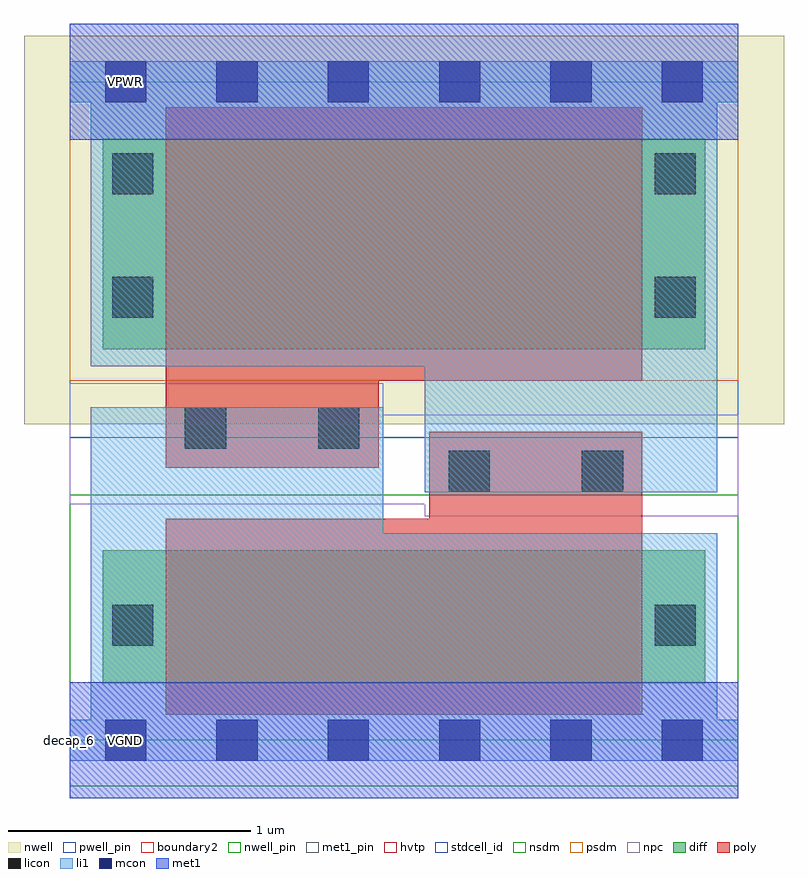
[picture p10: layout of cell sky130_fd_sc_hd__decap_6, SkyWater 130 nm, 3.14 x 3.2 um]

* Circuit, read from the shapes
.subckt sky130_fd_sc_hd__decap_6 VGND VNB VPB VPWR
XM1 VGND VPWR VGND VNB sky130_fd_pr__nfet_01v8 w=0.55 l=1.97
XM2 VPWR VGND VPWR VPB sky130_fd_pr__pfet_01v8_hvt w=0.87 l=1.97
.ends

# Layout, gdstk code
import gdstk
lib = gdstk.Library(unit=1e-6, precision=1e-09)
def R(c, l, rs):  # rectangles x0, y0, x1, y1
    for r in rs: c.add(gdstk.rectangle(r[:2], r[2:], *l))
def A(c, l, x, y, w, h, nx, ny, dx, dy):  # array of equal rectangles
    R(c, l, [(x+i*dx, y+j*dy, x+i*dx+w, y+j*dy+h) for i in range(nx) for j in range(ny)])
def P(c, l, *ps):  # polygons
    for p in ps: c.add(gdstk.Polygon(p, *l))
nwell_pin = (64, 16)
nwell = (64, 20)
diff = (65, 20)
poly = (66, 20)
licon = (66, 44)
li1 = (67, 20)
mcon = (67, 44)
met1_pin = (68, 16)
met1 = (68, 20)
hvtp = (78, 44)
stdcell_id = (81, 4)
nsdm = (93, 44)
psdm = (94, 20)
npc = (95, 20)
pwell_pin = (122, 16)
boundary2 = (236, 0)

sky130_fd_sc_hd__decap_6 = lib.new_cell('sky130_fd_sc_hd__decap_6')
R(sky130_fd_sc_hd__decap_6, nwell_pin, [(0.145,2.635,0.315,2.805)])
R(sky130_fd_sc_hd__decap_6, nwell, [(-0.19,1.305,2.95,2.91)])
R(sky130_fd_sc_hd__decap_6, diff, [(0.135,0.235,2.625,0.785), (0.135,1.615,2.625,2.485)])
P(sky130_fd_sc_hd__decap_6, poly, [(2.365,2.615),(0.395,2.615),(0.395,1.125),(1.275,1.125),(1.275,1.485),(2.365,1.485)],
  [(2.365,1.275),(1.485,1.275),(1.485,0.915),(0.395,0.915),(0.395,0.105),(2.365,0.105)])
R(sky130_fd_sc_hd__decap_6, licon, [(0.175,0.39,0.345,0.56), (2.415,0.39,2.585,0.56), (1.565,1.025,1.735,1.195), (2.115,1.025,2.285,1.195), (0.475,1.205,0.645,1.375), (1.025,1.205,1.195,1.375), (0.175,1.745,0.345,1.915), (2.415,1.745,2.585,1.915), (0.175,2.255,0.345,2.425), (2.415,2.255,2.585,2.425)])
P(sky130_fd_sc_hd__decap_6, li1, [(2.76,0.085),(2.675,0.085),(2.675,0.855),(1.295,0.855),(1.295,1.375),(0.085,1.375),(0.085,0.085),(0,0.085),(0,-0.085),(2.76,-0.085)],
  [(2.76,2.805),(0,2.805),(0,2.635),(0.085,2.635),(0.085,1.545),(1.465,1.545),(1.465,1.025),(2.675,1.025),(2.675,2.635),(2.76,2.635)])
A(sky130_fd_sc_hd__decap_6, mcon, 0.145, -0.085, 0.17, 0.17, 6, 2, 0.46, 2.72)
R(sky130_fd_sc_hd__decap_6, met1_pin, [(0.145,-0.085,0.315,0.085), (0.145,2.635,0.315,2.805)])
R(sky130_fd_sc_hd__decap_6, hvtp, [(0,1.25,2.76,2.72)])
R(sky130_fd_sc_hd__decap_6, stdcell_id, [(0,0,2.76,2.72)])
R(sky130_fd_sc_hd__decap_6, nsdm, [(0,-0.19,2.76,1.015)])
R(sky130_fd_sc_hd__decap_6, psdm, [(0,1.485,2.76,2.91)])
P(sky130_fd_sc_hd__decap_6, npc, [(2.76,1.345),(1.295,1.345),(1.295,1.475),(0,1.475),(0,0.975),(1.465,0.975),(1.465,0.925),(2.76,0.925)])
R(sky130_fd_sc_hd__decap_6, pwell_pin, [(0.145,-0.085,0.315,0.085)])
R(sky130_fd_sc_hd__decap_6, boundary2, [(0,0,2.76,2.72)])
sky130_fd_sc_hd__decap_6.add(gdstk.FlexPath([(0,2.72),(2.76,2.72)], 0.48, ends="flush", simple_path=True, layer=68, datatype=20))  # met1
sky130_fd_sc_hd__decap_6.add(gdstk.FlexPath([(0,0),(2.76,0)], 0.48, ends="flush", simple_path=True, layer=68, datatype=20))  # met1
sky130_fd_sc_hd__decap_6.add(gdstk.Label('VPWR', (0.23,2.72), layer=68, texttype=5))
sky130_fd_sc_hd__decap_6.add(gdstk.Label('VGND', (0.23,0), layer=68, texttype=5))
sky130_fd_sc_hd__decap_6.add(gdstk.Label('VPB', (0.23,2.72), layer=64, texttype=5))
sky130_fd_sc_hd__decap_6.add(gdstk.Label('VNB', (0.23,0), layer=64, texttype=59))
sky130_fd_sc_hd__decap_6.add(gdstk.Label('decap_6', (0,0), layer=83, texttype=44))

lib.write_gds('sky130_fd_sc_hd__decap_6.gds')
